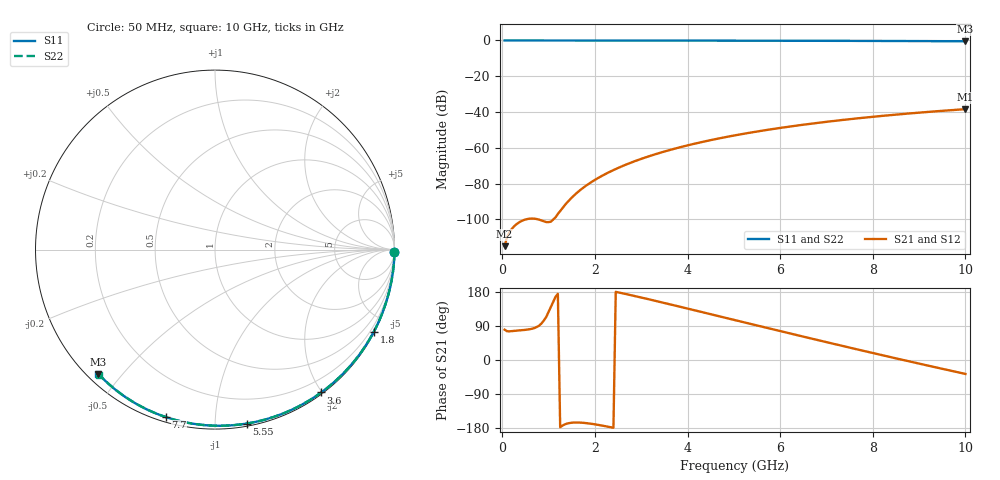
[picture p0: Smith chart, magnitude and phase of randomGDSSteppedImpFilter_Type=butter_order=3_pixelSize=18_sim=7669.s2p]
! freq	dB(S11)	phase(S11)	dB(S12)	phase(S12)
!  dB(S21)	phase(S21)	dB(S22)	phase(S22)
!S-par simulation data
#  GHz  S  DB  R 50
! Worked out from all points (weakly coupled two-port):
!   200 points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, 50 MHz to 10 GHz, reference 50 ohm
!   highest |S21| = -38.38 dB at 10 GHz (marker M1); lowest = -115.0 dB at 50 MHz (marker M2)
!   lowest |S11| = -0.4 dB at 10 GHz (marker M3), VSWR 38.85, Z = 1.53 - j21.6 ohm
!   |S11| at or under -10 dB: nowhere
!   |S22| runs from -0.4 to 0.0 dB; largest |S21 - S12| = 0
!   S11 on the Smith chart (normalised r, x): 50 MHz: open; 1.8 GHz: 0.04, -4.12; 3.6 GHz: 0.02, -1.99; 5.55 GHz: 0.02, -1.20; 7.7 GHz: 0.02, -0.75; 10 GHz: 0.03, -0.43
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0.05  -0.00 -0.8  -114.95 80.1  -114.95 80.1  -0.00 -0.8
0.9  -0.02 -13.8  -101.11 104.7  -101.11 104.7  -0.02 -13.7
1.75  -0.03 -26.6  -82.26 -165.8  -82.26 -165.8  -0.03 -26.3
1.8  -0.03 -27.3  -81.31 -166.4  -81.31 -166.4  -0.03 -27.1
1.85  -0.04 -28.1  -80.41 -167.1  -80.41 -167.1  -0.04 -27.8
1.9  -0.04 -28.8  -79.54 -167.9  -79.54 -167.9  -0.04 -28.5
2.05  -0.04 -31.0  -77.14 -170.8  -77.14 -170.8  -0.04 -30.7
2.25  -0.04 -34.0  -74.32 -175.2  -74.32 -175.2  -0.04 -33.6
2.45  -0.05 -36.9  -71.82 179.8  -71.82 179.8  -0.05 -36.6
2.65  -0.05 -39.8  -69.59 174.6  -69.59 174.6  -0.05 -39.4
3  -0.06 -44.9  -66.17 164.9  -66.17 164.9  -0.06 -44.5
3.4  -0.07 -50.6  -62.82 153.4  -62.82 153.4  -0.07 -50.1
3.6  -0.07 -53.4  -61.33 147.5  -61.33 147.5  -0.07 -52.9
4.3  -0.09 -63.1  -56.82 126.8  -56.82 126.8  -0.09 -62.5
5.05  -0.11 -73.2  -52.90 104.5  -52.90 104.5  -0.11 -72.5
5.55  -0.13 -79.7  -50.67 89.6  -50.67 89.6  -0.13 -79.1
6.1  -0.15 -86.7  -48.50 73.4  -48.50 73.4  -0.15 -86.1
6.7  -0.18 -94.3  -46.41 55.8  -46.41 55.8  -0.18 -93.5
7.7  -0.24 -106.4  -43.44 27.0  -43.44 27.0  -0.24 -105.7
8.35  -0.29 -114.1  -41.79 8.5  -41.79 8.5  -0.29 -113.4
9.15  -0.36 -123.4  -40.02 -13.7  -40.02 -13.7  -0.36 -122.7
10  -0.45 -133.2  -38.38 -36.7  -38.38 -36.7  -0.45 -132.7
